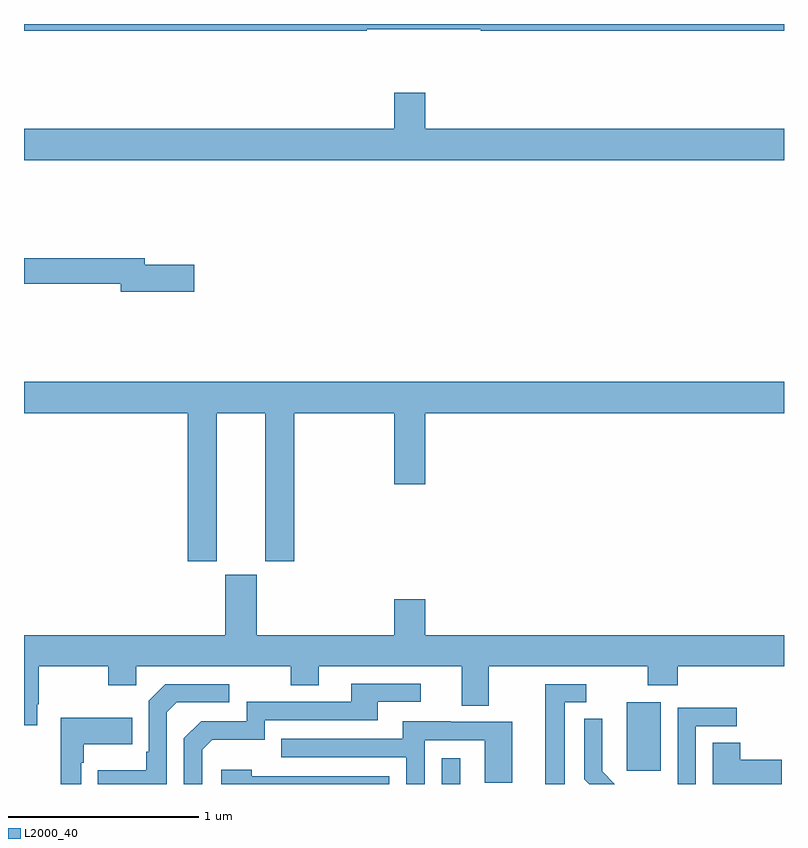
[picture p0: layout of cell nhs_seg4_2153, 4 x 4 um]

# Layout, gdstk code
import gdstk
lib = gdstk.Library(unit=1e-6, precision=1e-09)
def R(c, l, rs):  # rectangles x0, y0, x1, y1
    for r in rs: c.add(gdstk.rectangle(r[:2], r[2:], *l))
def P(c, l, *ps):  # polygons
    for p in ps: c.add(gdstk.Polygon(p, *l))
L2000_40 = (2000, 40)

nhs_seg4_2153 = lib.new_cell('nhs_seg4_2153')
R(nhs_seg4_2153, L2000_40, [(225.198,762.9,225.295,763.036), (226.172,762.969,226.351,763.33)])
P(nhs_seg4_2153, L2000_40, [(224.804,766.872),(225.404,766.872),(225.404,766.864),(227,766.864),(227,766.9),(223,766.9),(223,766.864),(224.804,766.864)],
  [(227,766.348),(225.112,766.348),(225.112,766.537),(224.948,766.537),(224.948,766.348),(223,766.348),(223,766.184),(227,766.184)],
  [(223.897,765.632),(223.636,765.632),(223.636,765.668),(223,765.668),(223,765.532),(223.508,765.532),(223.508,765.49),(223.897,765.49)],
  [(224.014,764.852),(224.27,764.852),(224.27,764.073),(224.423,764.073),(224.423,764.852),(224.948,764.852),(224.948,764.478),(225.112,764.478),(225.112,764.852),(227,764.852),(227,765.016),(223,765.016),(223,764.852),(223.862,764.852),(223.862,764.073),(224.014,764.073)],
  [(223.069,763.321),(223.077,763.321),(223.077,763.52),(223.444,763.52),(223.444,763.421),(223.59,763.421),(223.59,763.52),(224.404,763.52),(224.404,763.421),(224.551,763.421),(224.551,763.52),(225.305,763.52),(225.305,763.312),(225.445,763.312),(225.445,763.52),(226.282,763.52),(226.282,763.421),(226.442,763.421),(226.442,763.52),(227,763.52),(227,763.684),(225.112,763.684),(225.112,763.873),(224.948,763.873),(224.948,763.684),(224.224,763.684),(224.224,764.001),(224.06,764.001),(224.06,763.684),(223,763.684),(223,763.209),(223.069,763.209)],
  [(223.938,763.08),(223.991,763.133),(224.268,763.133),(224.268,763.236),(224.863,763.236),(224.863,763.332),(225.088,763.332),(225.088,763.428),(224.723,763.428),(224.723,763.332),(224.172,763.332),(224.172,763.23),(223.932,763.23),(223.842,763.14),(223.842,762.9),(223.938,762.9)],
  [(225.847,763.329),(225.958,763.329),(225.958,763.425),(225.743,763.425),(225.743,762.9),(225.847,762.9)],
  [(223.752,763.278),(223.803,763.329),(224.08,763.329),(224.08,763.425),(223.743,763.425),(223.656,763.338),(223.656,763.069),(223.644,763.069),(223.644,762.973),(223.387,762.973),(223.387,762.9),(223.752,762.9)],
  [(226.536,763.203),(226.75,763.203),(226.75,763.302),(226.44,763.302),(226.44,762.9),(226.536,762.9)],
  [(223.302,763.013),(223.315,763.013),(223.315,763.109),(223.571,763.109),(223.571,763.249),(223.194,763.249),(223.194,762.9),(223.302,762.9)],
  [(226.043,762.968),(226.043,763.09),(226.044,763.09),(226.044,763.244),(225.948,763.244),(225.948,762.926),(225.974,762.9),(226.11,762.9)],
  [(225.108,763.131),(225.426,763.131),(225.426,762.907),(225.571,762.907),(225.571,763.227),(225.247,763.227),(225.247,763.231),(224.993,763.231),(224.993,763.137),(224.353,763.137),(224.353,763.041),(225.012,763.041),(225.012,762.9),(225.108,762.9)],
  [(226.987,763.028),(226.769,763.028),(226.769,763.118),(226.625,763.118),(226.625,762.9),(226.987,762.9)],
  [(224.922,762.942),(224.198,762.942),(224.198,762.976),(224.037,762.976),(224.037,762.9),(224.922,762.9)])

lib.write_gds('nhs_seg4_2153.gds')
